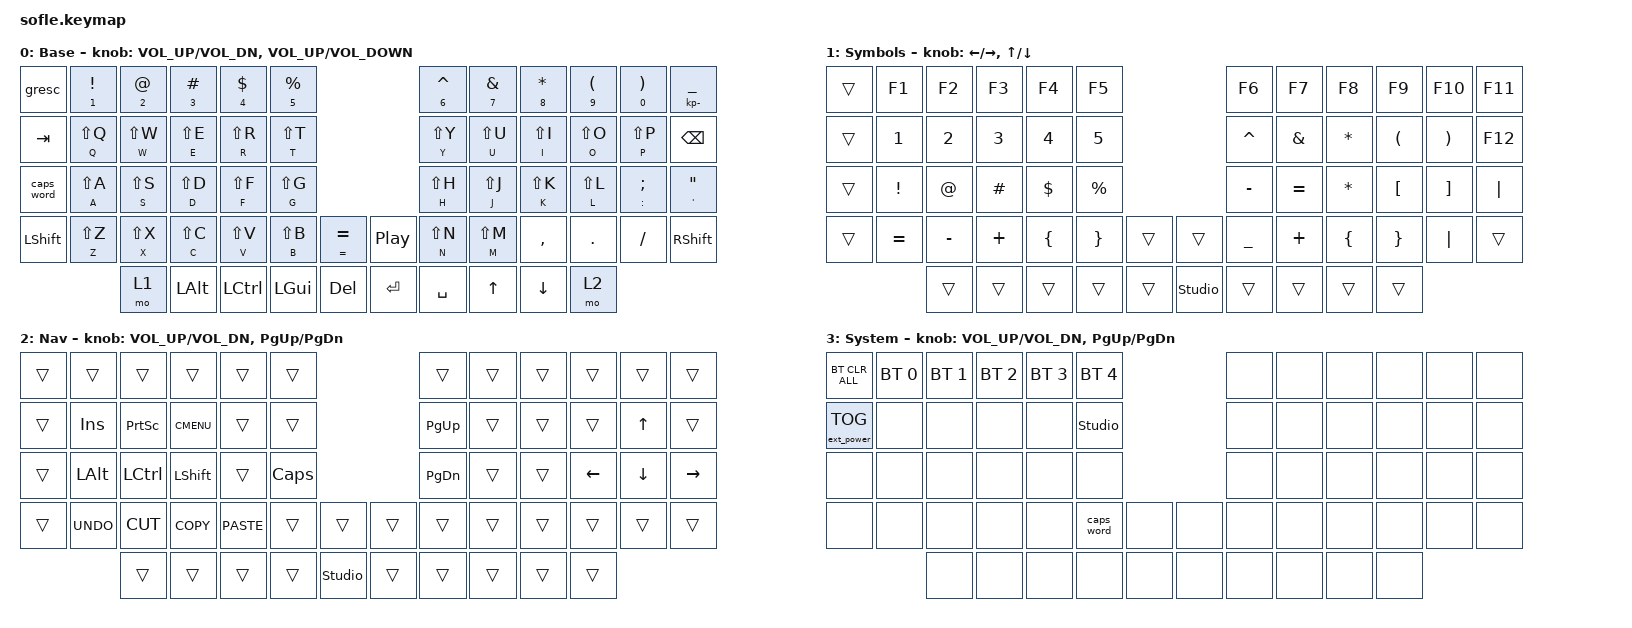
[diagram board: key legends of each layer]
/*
 * Copyright (c) 2020 The ZMK Contributors
 *
 * SPDX-License-Identifier: MIT
 */

#include <behaviors.dtsi>
#include <dt-bindings/zmk/bt.h>
#include <dt-bindings/zmk/ext_power.h>
#include <dt-bindings/zmk/keys.h>

// Encoders

&sensors { triggers-per-rotation = <30>; };

&left_encoder { steps = <60>; };

&right_encoder { steps = <60>; };

#define BASE 0
#define LOWER 1
#define RAISE 2
#define ADJUST 3

/ {
    // Activate ADJUST layer by pressing raise and lower

    conditional_layers {
        compatible = "zmk,conditional-layers";

        adjust_layer {
            if-layers = <LOWER RAISE>;
            then-layer = <ADJUST>;
        };
    };

    combos {
        compatible = "zmk,combos";

        backspace {
            bindings = <&kp BACKSPACE>;
            key-positions = <32 31>;
        };

        delete {
            bindings = <&kp DELETE>;
            key-positions = <27 33>;
        };

        esc {
            bindings = <&kp ESCAPE>;
            key-positions = <25 41>;
        };
    };

    behaviors {
        caps: caps {
            compatible = "zmk,behavior-caps-word";
            label = "CAPS";
            #binding-cells = <0>;
            continue-list = <POUND MINUS BACKSPACE UNDERSCORE>;
        };

        autoshift: behavior_autoshift {
            compatible = "zmk,behavior-hold-tap";
            label = "AUTOSHIFT";
            #binding-cells = <2>;
            tapping-term-ms = <147>;
            quick-tap-ms = <0>;
            flavor = "tap-preferred";
            bindings = <&kp>, <&kp>;
        };
    };

    keymap {
        compatible = "zmk,keymap";

        default_layer {
            display-name = "Base";

            // ------------------------------------------------------------------------------------------------------------
            // |   `   |  1  |  2  |  3   |  4   |  5   |                   |  6   |  7    |  8    |  9   |   0   |       |
            // |  ESC  |  Q  |  W  |  E   |  R   |  T   |                   |  Y   |  U    |  I    |  O   |   P   | BKSPC |
            // |  TAB  |  A  |  S  |  D   |  F   |  G   |                   |  H   |  J    |  K    |  L   |   ;   |   '   |
            // | SHIFT |  Z  |  X  |  C   |  V   |  B   |  MUTE  |  |       |  N   |  M    |  ,    |  .   |   /   | SHIFT |
            //               | GUI | ALT  | CTRL | LOWER|  ENTER |  | SPACE | RAISE| CTRL  | ALT   | GUI  |

            bindings = <
&gresc          &autoshift N1 EXCL  &autoshift N2 AT    &autoshift N3 HASH  &autoshift N4 DLLR  &autoshift N5 PRCNT                                              &autoshift N6 CARET  &autoshift N7 AMPERSAND  &autoshift N8 ASTRK  &autoshift N9 LPAR  &autoshift N0 RPAR          &autoshift KP_MINUS UNDERSCORE
&kp TAB         &autoshift Q LS(Q)  &autoshift W LS(W)  &autoshift E LS(E)  &autoshift R LS(R)  &autoshift T LS(T)                                               &autoshift Y LS(Y)   &autoshift U LS(U)       &autoshift I LS(I)   &autoshift O LS(O)  &autoshift P LS(P)          &kp BSPC
&caps_word      &autoshift A LS(A)  &autoshift S LS(S)  &autoshift D LS(D)  &autoshift F LS(F)  &autoshift G LS(G)                                               &autoshift H LS(H)   &autoshift J LS(J)       &autoshift K LS(K)   &autoshift L LS(L)  &autoshift COLON SEMICOLON  &autoshift SQT DOUBLE_QUOTES
&kp LEFT_SHIFT  &autoshift Z LS(Z)  &autoshift X LS(X)  &autoshift C LS(C)  &autoshift V LS(V)  &autoshift B LS(B)   &autoshift EQUAL EQUAL    &kp C_PLAY_PAUSE  &autoshift N LS(N)   &autoshift M LS(M)       &kp COMMA            &kp DOT             &kp FSLH                    &kp RSHFT
                                    &mo 1               &kp LALT            &kp LCTRL           &kp LEFT_GUI         &kp DELETE                &kp ENTER         &kp SPACE            &kp UP_ARROW             &kp DOWN             &mo 2
            >;

            sensor-bindings =
                <&inc_dec_kp C_VOL_UP C_VOL_DN>,
                <&inc_dec_kp C_VOLUME_UP C_VOLUME_DOWN>;
        };

        lower_layer {
            display-name = "Symbols";

            // TODO: Some binds are waiting for shifted keycode support.
            // ------------------------------------------------------------------------------------------------------------
            // |       |  F1 |  F2 |  F3  |  F4  |  F5  |                   |  F6  |  F7   |  F8   |  F9  |  F10  |  F11  |
            // |   `   |  1  |  2  |  3   |  4   |  5   |                   |  6   |  7    |  8    |  9   |   0   |  F12  |
            // |       |  !  |  @  |  #   |  $   |  %   |                   |  ^   |  &    |  *    |  (   |   )   |   |   |
            // |       |  =  |  -  |  +   |  {   |  }   |        |  |       |  [   |  ]    |  ;    |  :   |   \   |       |
            //               |     |      |      |      |        |  |       |      |       |       |      |

            bindings = <
&trans  &kp F1     &kp F2     &kp F3    &kp F4    &kp F5                               &kp F6          &kp F7         &kp F8          &kp F9                &kp F10                &kp F11
&trans  &kp N1     &kp N2     &kp N3    &kp N4    &kp N5                               &kp CARET       &kp AMPERSAND  &kp ASTRK       &kp LEFT_PARENTHESIS  &kp RIGHT_PARENTHESIS  &kp F12
&trans  &kp EXCL   &kp AT     &kp HASH  &kp DLLR  &kp PRCNT                            &kp MINUS       &kp EQUAL      &kp ASTRK       &kp LEFT_BRACKET      &kp RIGHT_BRACKET      &kp PIPE
&trans  &kp EQUAL  &kp MINUS  &kp PLUS  &kp LBRC  &kp RBRC   &trans    &trans          &kp UNDERSCORE  &kp PLUS       &kp LEFT_BRACE  &kp RIGHT_BRACE       &kp PIPE               &trans
                   &trans     &trans    &trans    &trans     &trans    &studio_unlock  &trans          &trans         &trans          &trans
            >;

            sensor-bindings =
                <&inc_dec_kp LEFT_ARROW RIGHT_ARROW>,
                <&inc_dec_kp UP_ARROW DOWN_ARROW>;
        };

        raise_layer {
            display-name = "Nav";

            // ------------------------------------------------------------------------------------------------------------
            // | BTCLR | BT1  | BT2  |  BT3  |  BT4  |  BT5 |                |      |      |       |      |       |       |
            // |       | INS  | PSCR | GUI   |       |      |                | PGUP |      |   ^   |      |       |       |
            // |       | ALT  | CTRL | SHIFT |       | CAPS |                | PGDN |   <- |   v   |  ->  |  DEL  | BKSPC |
            // |       | UNDO | CUT  | COPY  | PASTE |      |      |  |      |      |      |       |      |       |       |
            //                |      |       |       |      |      |  |      |      |      |       |      |

            bindings = <
&trans  &trans      &trans     &trans       &trans       &trans                              &trans     &trans  &trans  &trans    &trans    &trans
&trans  &kp INS     &kp PSCRN  &kp K_CMENU  &trans       &trans                              &kp PG_UP  &trans  &trans  &trans    &kp UP    &trans
&trans  &kp LALT    &kp LCTRL  &kp LSHFT    &trans       &kp CLCK                            &kp PG_DN  &trans  &trans  &kp LEFT  &kp DOWN  &kp RIGHT
&trans  &kp K_UNDO  &kp K_CUT  &kp K_COPY   &kp K_PASTE  &trans    &trans            &trans  &trans     &trans  &trans  &trans    &trans    &trans
                    &trans     &trans       &trans       &trans    &studio_unlock    &trans  &trans     &trans  &trans  &trans
            >;

            sensor-bindings = <&inc_dec_kp C_VOL_UP C_VOL_DN &inc_dec_kp PG_UP PG_DN>;
        };

        adjust_layer {
            // ----------------------------------------------------------------------------------------------------------------------------
            // | BTCLR  |  BT1    |  BT2    |   BT3   |   BT4   |   BT5   |                  |      |      |       |      |       |       |
            // | EXTPWR | RGB_HUD | RGB_HUI | RGB_SAD | RGB_SAI | RGB_EFF |                  |      |      |       |      |       |       |
            // |        | RGB_BRD | RGB_BRI |         |         |         |                  |      |      |       |      |       |       |
            // |        |         |         |         |         |         | RGB_TOG | |      |      |      |       |      |       |       |
            //                    |         |         |         |         |         | |      |      |      |       |      |

            display-name = "System";
            bindings = <
&bt BT_CLR_ALL     &bt BT_SEL 0  &bt BT_SEL 1  &bt BT_SEL 2  &bt BT_SEL 3  &bt BT_SEL 4                    &none  &none  &none  &none  &none  &none
&ext_power EP_TOG  &none         &none         &none         &none         &studio_unlock                  &none  &none  &none  &none  &none  &none
&none              &none         &none         &none         &none         &none                           &none  &none  &none  &none  &none  &none
&none              &none         &none         &none         &none         &caps_word      &none    &none  &none  &none  &none  &none  &none  &none
                                 &none         &none         &none         &none           &none    &none  &none  &none  &none  &none
            >;

            sensor-bindings = <&inc_dec_kp C_VOL_UP C_VOL_DN &inc_dec_kp PG_UP PG_DN>;
        };
    };
};
